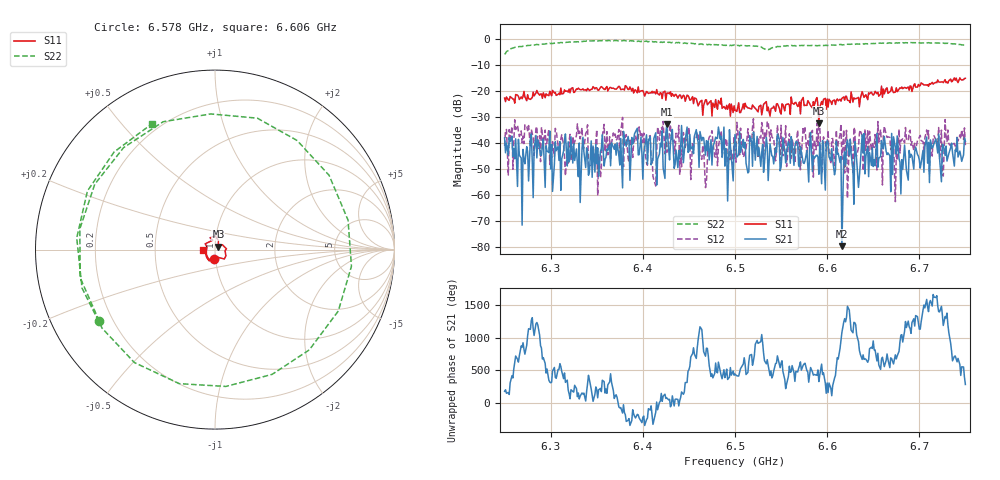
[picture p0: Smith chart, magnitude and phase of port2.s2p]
# Hz S RI R 50
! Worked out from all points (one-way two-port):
!   401 points, 6.25 GHz to 6.75 GHz, reference 50 ohm
!   highest |S21| = -32.70 dB at 6.426 GHz (marker M1); lowest = -79.6 dB at 6.616 GHz (marker M2)
!   lowest |S11| = -32.2 dB at 6.591 GHz (marker M3), VSWR 1.05, Z = 51.9 + j1.62 ohm
!   |S11| at or under -10 dB: start of sweep to end of sweep
!   |S22| runs from -5.7 to -0.4 dB; largest |S21 - S12| = 0.035
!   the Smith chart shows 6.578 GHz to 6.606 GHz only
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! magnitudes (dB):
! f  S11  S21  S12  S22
! 6.25 GHz  -22.6  -37.8  -41.0  -5.7
! 6.266 GHz  -23.1  -44.6  -37.4  -2.7
! 6.285 GHz  -19.6  -45.6  -33.5  -1.9
! 6.334 GHz  -19.3  -41.9  -34.0  -0.8
! 6.354 GHz  -18.5  -43.1  -53.3  -0.4
! 6.359 GHz  -19.3  -46.1  -43.2  -0.4
! 6.391 GHz  -19.5  -36.3  -39.1  -0.5
! 6.399 GHz  -19.7  -44.0  -36.3  -0.6
! 6.411 GHz  -20.6  -46.5  -52.7  -0.9
! 6.418 GHz  -21.4  -44.1  -38.8  -0.9
! 6.426 GHz  -20.7  -32.7  -43.4  -1.0
! 6.5 GHz  -27.3  -36.6  -45.2  -2.2
! 6.584 GHz  -26.3  -50.8  -35.0  -2.3
! 6.591 GHz  -32.2  -51.9  -31.5  -2.3
! 6.612 GHz  -23.6  -43.8  -39.6  -2.0
! 6.616 GHz  -22.7  -79.6  -46.2  -2.1
! 6.624 GHz  -23.6  -44.7  -39.5  -1.9
! 6.631 GHz  -22.8  -42.2  -44.8  -1.8
! 6.668 GHz  -20.1  -44.8  -37.7  -1.3
! 6.674 GHz  -20.3  -41.6  -62.4  -1.4
! 6.688 GHz  -18.3  -54.1  -39.0  -1.3
! 6.75 GHz  -15.0  -39.3  -40.7  -2.3
